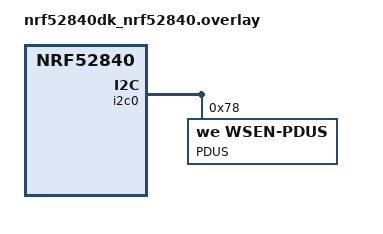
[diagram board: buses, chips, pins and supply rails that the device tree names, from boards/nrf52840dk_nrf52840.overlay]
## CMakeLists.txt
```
# Copyright (c) 2022 Würth Elektronik eiSos GmbH & Co. KG
# SPDX-License-Identifier: Apache-2.0

cmake_minimum_required(VERSION 3.20.0)
find_package(Zephyr REQUIRED HINTS $ENV{ZEPHYR_BASE})
project(wsen_pdus)

FILE(GLOB app_sources src/*.c)
target_sources(app PRIVATE ${app_sources})
```

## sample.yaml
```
sample:
  name: WSEN-PDUS Sensor Sample
tests:
  sample.sensor.wsen-pdus:
    harness: sensor
    tags: sensors
    depends_on: i2c pdus
    filter: dt_compat_enabled("we,wsen-pdus")
```

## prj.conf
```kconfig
###### Basic configuration required for using sensors ######
CONFIG_I2C=y
CONFIG_SENSOR=y

###### Configuration of WSEN-PDUS ######
CONFIG_PDUS=y

###### Log config ######
CONFIG_STDOUT_CONSOLE=y
CONFIG_LOG=y
# The following two parameters are required to enable float log support
CONFIG_CBPRINTF_FP_SUPPORT=y
CONFIG_LOG_MODE_DEFERRED=y
```

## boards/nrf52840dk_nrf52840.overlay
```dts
/*
 * Copyright (c) 2022 Würth Elektronik eiSos GmbH & Co. KG
 *
 * SPDX-License-Identifier: Apache-2.0
 */

&i2c0 {
	pdus@78 {
		compatible = "we,wsen-pdus";
		reg = <0x78>;
		label = "PDUS";
		sensor-type = <3>;
	};
};
```

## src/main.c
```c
/*
 * Copyright (c) 2022 Würth Elektronik eiSos GmbH & Co. KG
 *
 * SPDX-License-Identifier: Apache-2.0
 */

#include <zephyr/device.h>
#include <zephyr/drivers/sensor.h>
#include <zephyr/logging/log.h>
#include <zephyr/zephyr.h>

LOG_MODULE_REGISTER(MAIN);

static void process_sample(const struct device *dev)
{
	static unsigned int sample_count;
	struct sensor_value pressure, temperature;

	if (sensor_sample_fetch(dev) < 0) {
		LOG_ERR("Failed to fetch PDUS sensor sample.");
		return;
	}

	if (sensor_channel_get(dev, SENSOR_CHAN_PRESS, &pressure) < 0) {
		LOG_ERR("Failed to read PDUS pressure channel.");
		return;
	}

	if (sensor_channel_get(dev, SENSOR_CHAN_AMBIENT_TEMP, &temperature) < 0) {
		LOG_ERR("Failed to read PDUS temperature channel.");
		return;
	}

	++sample_count;
	LOG_INF("Sample #%u", sample_count);

	/* Display pressure */
	LOG_INF("Pressure: %.4f kPa", sensor_value_to_double(&pressure));

	/* Display temperature */
	LOG_INF("Temperature: %.1f C", sensor_value_to_double(&temperature));
}

void main(void)
{
	const struct device *dev = device_get_binding("PDUS");

	if (dev == NULL) {
		LOG_ERR("Failed to get PDUS device.");
		return;
	}

	LOG_INF("PDUS device initialized.");

	while (1) {
		process_sample(dev);
		k_sleep(K_MSEC(2000));
	}

	k_sleep(K_FOREVER);
}
```
